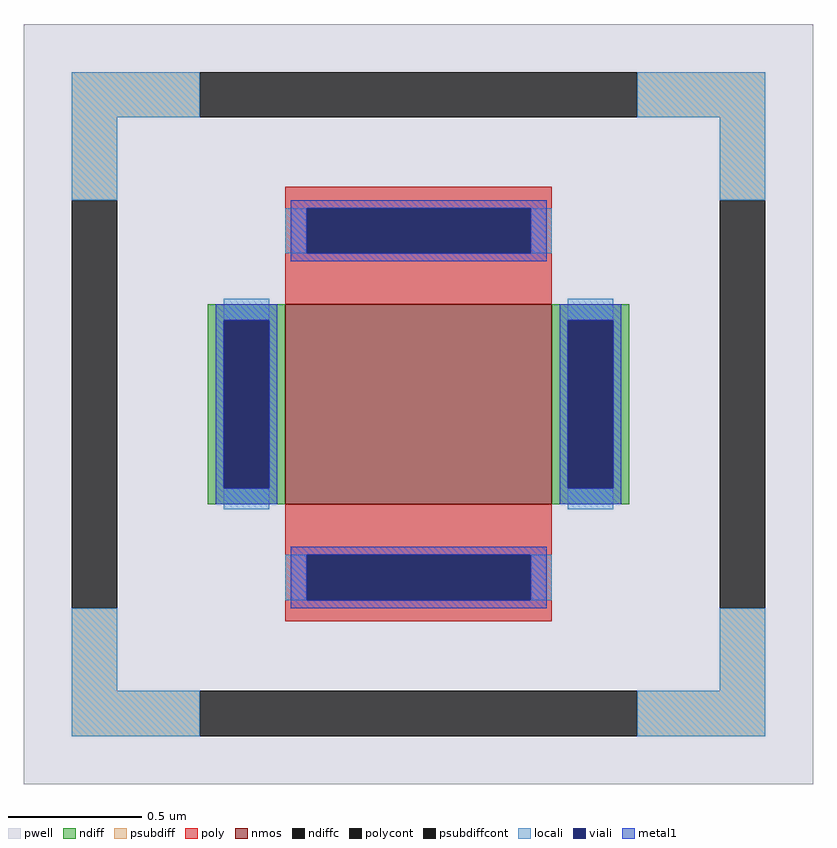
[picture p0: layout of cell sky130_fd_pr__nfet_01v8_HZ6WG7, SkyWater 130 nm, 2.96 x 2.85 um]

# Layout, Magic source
magic
tech sky130A
magscale 1 2
<< pwell >>
rect -296 -285 296 285
<< nmos >>
rect -100 -75 100 75
<< ndiff >>
rect -158 63 -100 75
rect -158 -63 -146 63
rect -112 -63 -100 63
rect -158 -75 -100 -63
rect 100 63 158 75
rect 100 -63 112 63
rect 146 -63 158 63
rect 100 -75 158 -63
<< ndiffc >>
rect -146 -63 -112 63
rect 112 -63 146 63
<< psubdiff >>
rect -260 215 -164 249
rect 164 215 260 249
rect -260 153 -226 215
rect 226 153 260 215
rect -260 -215 -226 -153
rect 226 -215 260 -153
rect -260 -249 -164 -215
rect 164 -249 260 -215
<< psubdiffcont >>
rect -164 215 164 249
rect -260 -153 -226 153
rect 226 -153 260 153
rect -164 -249 164 -215
<< poly >>
rect -100 147 100 163
rect -100 113 -84 147
rect 84 113 100 147
rect -100 75 100 113
rect -100 -113 100 -75
rect -100 -147 -84 -113
rect 84 -147 100 -113
rect -100 -163 100 -147
<< polycont >>
rect -84 113 84 147
rect -84 -147 84 -113
<< locali >>
rect -260 215 -164 249
rect 164 215 260 249
rect -260 153 -226 215
rect 226 153 260 215
rect -100 113 -84 147
rect 84 113 100 147
rect -146 63 -112 79
rect -146 -79 -112 -63
rect 112 63 146 79
rect 112 -79 146 -63
rect -100 -147 -84 -113
rect 84 -147 100 -113
rect -260 -215 -226 -153
rect 226 -215 260 -153
rect -260 -249 -164 -215
rect 164 -249 260 -215
<< viali >>
rect -84 113 84 147
rect -146 -63 -112 63
rect 112 -63 146 63
rect -84 -147 84 -113
<< metal1 >>
rect -96 147 96 153
rect -96 113 -84 147
rect 84 113 96 147
rect -96 107 96 113
rect -152 63 -106 75
rect -152 -63 -146 63
rect -112 -63 -106 63
rect -152 -75 -106 -63
rect 106 63 152 75
rect 106 -63 112 63
rect 146 -63 152 63
rect 106 -75 152 -63
rect -96 -113 96 -107
rect -96 -147 -84 -113
rect 84 -147 96 -113
rect -96 -153 96 -147
<< properties >>
string FIXED_BBOX -243 -232 243 232
string gencell sky130_fd_pr__nfet_01v8
string library sky130
string parameters w 0.75 l 1.0 m 1 nf 1 diffcov 100 polycov 100 guard 1 glc 1 grc 1 gtc 1 gbc 1 tbcov 100 rlcov 100 topc 1 botc 1 poverlap 0 doverlap 1 lmin 0.15 wmin 0.42 compatible {sky130_fd_pr__nfet_01v8 sky130_fd_pr__nfet_01v8_lvt  sky130_fd_bs_flash__special_sonosfet_star  sky130_fd_pr__nfet_g5v0d10v5 sky130_fd_pr__nfet_05v0_nvt  sky130_fd_pr__nfet_03v3_nvt} full_metal 1 viasrc 100 viadrn 100 viagate 100 viagb 0 viagr 0 viagl 0 viagt 0
<< end >>
